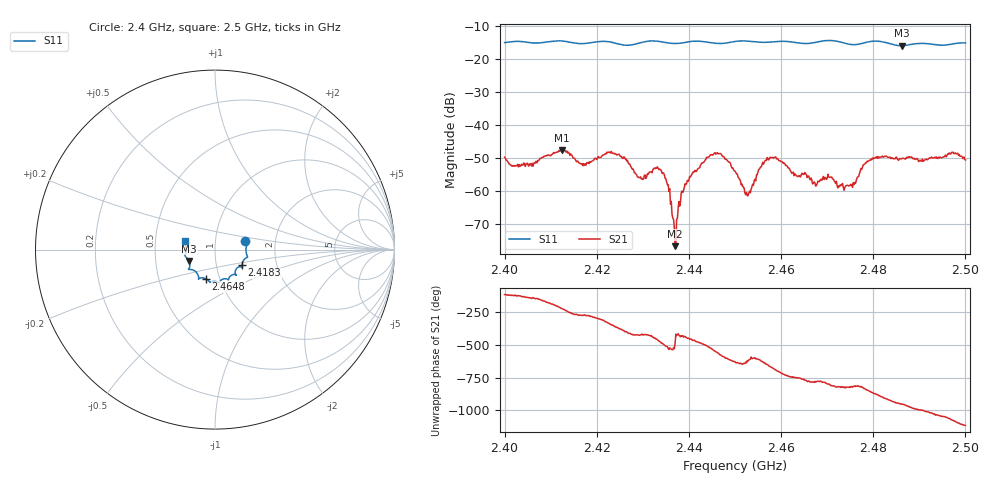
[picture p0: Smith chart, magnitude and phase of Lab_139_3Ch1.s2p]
# Hz S RI R 50
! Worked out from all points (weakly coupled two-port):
!   601 points, 2.4 GHz to 2.5 GHz, reference 50 ohm
!   highest |S21| = -47.55 dB at 2.4125 GHz (marker M1); lowest = -76.6 dB at 2.437 GHz (marker M2)
!   lowest |S11| = -16.1 dB at 2.4862 GHz (marker M3), VSWR 1.37, Z = 37.1 - j4.79 ohm
!   |S11| at or under -10 dB: start of sweep to end of sweep
!   S12 and S22 are empty: the file has one direction only
!   S11 on the Smith chart (normalised r, x): 2.4 GHz: 1.40, +0.13; 2.4183 GHz: 1.33, -0.24; 2.4648 GHz: 0.86, -0.29; 2.5 GHz: 0.71, +0.07
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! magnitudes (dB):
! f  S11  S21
! 2.4 GHz  -15.1  -49.7
! 2.4057 GHz  -15.2  -51.8
! 2.4125 GHz  -14.6  -47.5
! 2.4167 GHz  -15.4  -51.9
! 2.4183 GHz  -15.2  -51.7
! 2.4227 GHz  -14.9  -48.3
! 2.4297 GHz  -15.1  -56.3
! 2.4333 GHz  -14.7  -53.1
! 2.4353 GHz  -15.2  -58.1
! 2.437 GHz  -15.4  -76.6
! 2.4388 GHz  -15.2  -59.8
! 2.4442 GHz  -15.0  -49.7
! 2.45 GHz  -14.8  -53.9
! 2.4527 GHz  -14.7  -61.3
! 2.4575 GHz  -15.0  -49.9
! 2.4648 GHz  -15.4  -55.0
! 2.4667 GHz  -15.3  -56.6
! 2.475 GHz  -15.7  -58.3
! 2.4787 GHz  -15.0  -51.0
! 2.4833 GHz  -15.3  -49.8
! 2.4862 GHz  -16.1  -50.2
! 2.5 GHz  -15.2  -50.6
